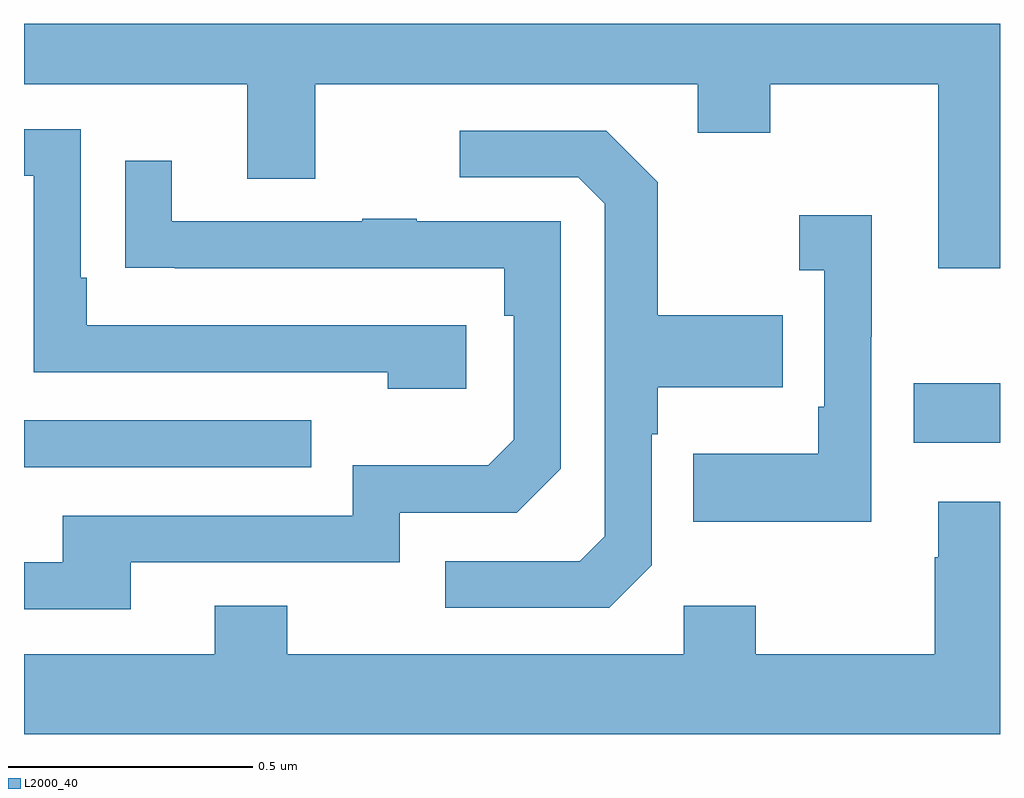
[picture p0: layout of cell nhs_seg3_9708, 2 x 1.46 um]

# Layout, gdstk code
import gdstk
lib = gdstk.Library(unit=1e-6, precision=1e-09)
def R(c, l, rs):  # rectangles x0, y0, x1, y1
    for r in rs: c.add(gdstk.rectangle(r[:2], r[2:], *l))
def P(c, l, *ps):  # polygons
    for p in ps: c.add(gdstk.Polygon(p, *l))
L2000_40 = (2000, 40)

nhs_seg3_9708 = lib.new_cell('nhs_seg3_9708')
R(nhs_seg3_9708, L2000_40, [(232,673.491,232.589,673.587), (233.823,673.541,234,673.663)])
P(nhs_seg3_9708, L2000_40, [(232,674.276),(232.457,674.276),(232.457,674.082),(232.597,674.082),(232.597,674.276),(233.381,674.276),(233.381,674.177),(233.529,674.177),(233.529,674.276),(233.873,674.276),(233.873,673.899),(234,673.899),(234,674.4),(232,674.4)],
  [(232.906,673.782),(232.129,673.782),(232.129,673.879),(232.116,673.879),(232.116,674.184),(232,674.184),(232,674.088),(232.02,674.088),(232.02,673.686),(232.745,673.686),(232.745,673.652),(232.906,673.652)],
  [(233.286,673.29),(233.286,673.559),(233.299,673.559),(233.299,673.655),(233.555,673.655),(233.555,673.803),(233.299,673.803),(233.299,674.075),(233.193,674.181),(232.893,674.181),(232.893,674.085),(233.136,674.085),(233.19,674.031),(233.19,673.35),(233.139,673.299),(232.863,673.299),(232.863,673.203),(233.199,673.203)],
  [(232.219,673.296),(232.77,673.296),(232.77,673.398),(233.01,673.398),(233.1,673.488),(233.1,673.995),(232.805,673.995),(232.805,674),(232.693,674),(232.693,673.995),(232.303,673.995),(232.303,674.119),(232.207,674.119),(232.207,673.9),(232.309,673.9),(232.309,673.899),(232.984,673.899),(232.984,673.802),(233.004,673.802),(233.004,673.548),(232.951,673.495),(232.674,673.495),(232.674,673.392),(232.079,673.392),(232.079,673.296),(232,673.296),(232,673.2),(232.219,673.2)],
  [(233.736,673.759),(233.737,673.759),(233.737,674.008),(233.589,674.008),(233.589,673.895),(233.64,673.895),(233.64,673.615),(233.628,673.615),(233.628,673.519),(233.371,673.519),(233.371,673.379),(233.736,673.379)],
  [(234,673.42),(233.873,673.42),(233.873,673.307),(233.866,673.307),(233.866,673.108),(233.499,673.108),(233.499,673.207),(233.352,673.207),(233.352,673.108),(232.539,673.108),(232.539,673.207),(232.391,673.207),(232.391,673.108),(232,673.108),(232,672.944),(234,672.944)])

lib.write_gds('nhs_seg3_9708.gds')
